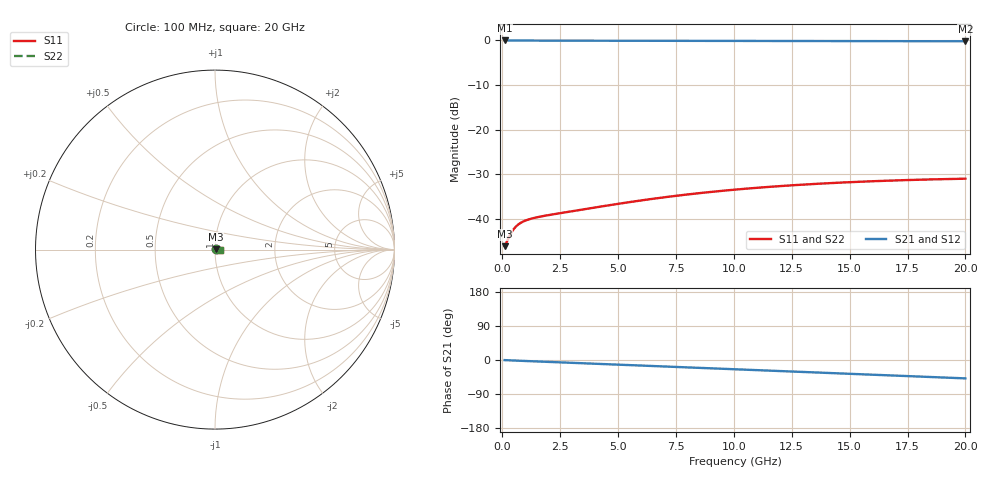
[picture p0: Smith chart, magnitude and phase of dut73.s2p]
! Touchstone file exported from HFSS 2026.1.0
!  File:  C:/ffzhzh/LocalFiles/Ansys_Project_Files/temp_train_TMRDL_73_1782881223_46784.aedt
!  Generated:  12:48:18 PM Jul  1, 2026
!  Design:  TMRDL
!  Project:  temp_train_TMRDL_73_1782881223_46784
! Variables:
!  h_bsmrdl = 2um
!  h_ox = 20um
!  h_rdl = 5um
!  h_sub = 80um
!  h_tmrdl = 2.48um
!  h_tsv = 80um
!  h_via = 3um
!  l_bsmrdl = 300um
!  l_sub = 1258.17um
!  l_tmrdl = 858.17um
!  m_sub = 200um
!  pitch = 31.42um
!  r_tsv = 6um
!  s_tmrdl = 10um
!  w_bsmrdl = 18um
!  w_sub = 500um
!  w_tmrdl = 27.4um
!  x_tsv_center1 = 871.87um
!  x_tsv_center2 = 1189.87um
!  x_tsv_center3 = 2075.44um
!  x_tsv_center4 = 2393.44um
!  x_tsv_center5 = 3279.01um
!  x_tsv_center6 = 3597.01um
# GHz S MA R 50.000000
! Terminal data exported
! Port[1] = TM_RDL1_1_T1
! Port[2] = TM_RDL1_1_T2
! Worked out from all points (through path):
!   200 points, 100 MHz to 20 GHz, reference 50 ohm
!   highest |S21| = -0.04 dB at 100 MHz (marker M1); lowest = -0.2 dB at 20 GHz (marker M2)
!   group delay of S21, straight-line fit = 6.72 ps
!   lowest |S11| = -46.1 dB at 100 MHz (marker M3), VSWR 1.01, Z = 50.5 + j0.104 ohm
!   |S11| at or under -10 dB: start of sweep to end of sweep
!   |S22| runs from -46.1 to -30.9 dB; largest |S21 - S12| = 4e-15
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0.1  0.004971 11.9  0.9951 -0.3  0.9951 -0.3  0.004971 11.9
! Gamma 0 0 0 0
! Port Impedance 50 0 50 0
0.2  0.005611 20.0  0.9947 -0.6  0.9947 -0.6  0.005611 20.0
0.3  0.006384 24.0  0.9942 -0.9  0.9942 -0.9  0.006384 24.0
0.4  0.007124 25.5  0.9936 -1.1  0.9936 -1.1  0.007124 25.5
0.5  0.007765 25.7  0.9931 -1.4  0.9931 -1.4  0.007765 25.7
0.6  0.008296 25.3  0.9926 -1.6  0.9926 -1.6  0.008297 25.3
0.7  0.008729 24.7  0.9922 -1.9  0.9922 -1.9  0.00873 24.7
0.8  0.009083 24.1  0.9919 -2.1  0.9919 -2.1  0.009084 24.1
0.9  0.009376 23.5  0.9916 -2.4  0.9916 -2.4  0.009377 23.5
1.2  0.01001 22.4  0.991 -3.1  0.991 -3.1  0.01002 22.4
1.6  0.01059 22.0  0.9905 -4.0  0.9905 -4.0  0.0106 22.0
3.5  0.01282 24.7  0.9893 -8.7  0.9893 -8.7  0.01283 24.7
5.3  0.0152 25.7  0.988 -13.1  0.988 -13.1  0.01522 25.6
6.8  0.01725 24.5  0.9867 -16.8  0.9867 -16.8  0.01728 24.4
8.4  0.01935 21.9  0.9853 -20.6  0.9853 -20.6  0.0194 21.8
10.1  0.02139 18.1  0.9837 -24.8  0.9837 -24.8  0.02146 18.0
11.7  0.02308 14.1  0.9821 -28.6  0.9821 -28.6  0.02317 13.9
13.4  0.02462 9.5  0.9805 -32.7  0.9805 -32.7  0.02475 9.3
15  0.02584 5.0  0.979 -36.6  0.979 -36.6  0.026 4.8
16.7  0.02689 0.2  0.9775 -40.6  0.9775 -40.6  0.02709 -0.1
18.3  0.02767 -4.4  0.9761 -44.4  0.9761 -44.4  0.02791 -4.7
20  0.02827 -9.2  0.9748 -48.5  0.9748 -48.5  0.02856 -9.6
